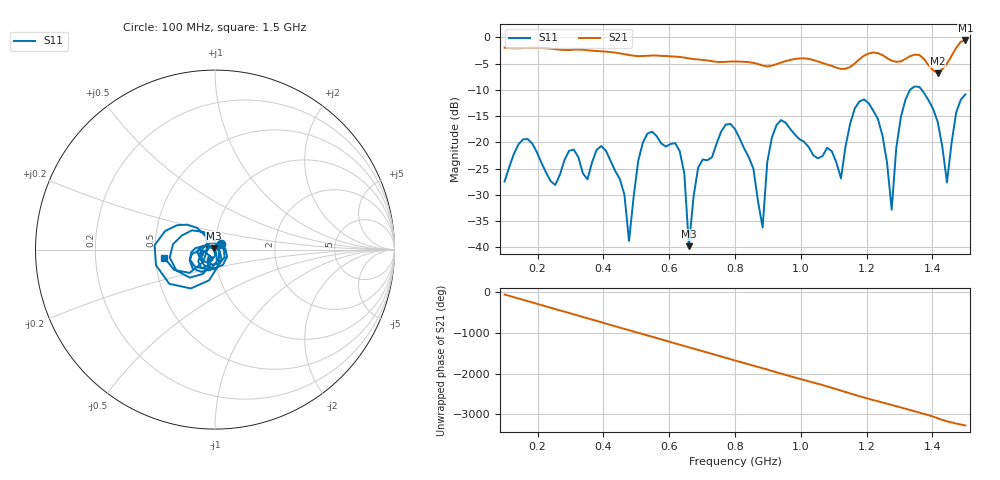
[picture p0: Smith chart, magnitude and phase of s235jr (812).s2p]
! NanoVNA-App
! Date: 2025-09-25 15:10:29
! Start: 100MHz Stop: 1,5GHz Points: 101
! S-Parameter data: F S11 S21 S12 S22
# Hz S RI R 50
!  Frequency  S11_Real  S11_Imag  S21_Real  S21_Imag  S12_Real  S12_Imag  S22_Real  S22_Imag
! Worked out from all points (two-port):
!   101 points, 100 MHz to 1.5 GHz, reference 50 ohm
!   highest |S21| = -0.59 dB at 1.5 GHz (marker M1); lowest = -6.8 dB at 1.416 GHz (marker M2)
!   |S21| within 3 dB of the highest: start of sweep to 599.9 MHz; 1.19 GHz to 1.253 GHz (63.33 MHz wide, 5.18 % of centre) (the widest 2 of 4)
!   lowest |S11| = -39.8 dB at 660 MHz (marker M3), VSWR 1.02, Z = 49.2 + j0.625 ohm
!   |S11| at or under -10 dB: start of sweep to 1.332 GHz; 1.367 GHz to end of sweep
!   S12 and S22 are empty: the file has one direction only
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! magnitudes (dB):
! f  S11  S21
! 100 MHz  -27.5  -2.0
! 156 MHz  -19.5  -2.0
! 338 MHz  -26.0  -2.4
! 408 MHz  -21.6  -2.7
! 478 MHz  -38.8  -3.4
! 520 MHz  -20.1  -3.6
! 576 MHz  -20.2  -3.5
! 632 MHz  -21.7  -3.7
! 660 MHz  -39.8  -4.0
! 688 MHz  -24.9  -4.2
! 800 MHz  -17.5  -4.6
! 884 MHz  -36.2  -5.4
! 926 MHz  -16.7  -5.1
! 1.038 GHz  -22.5  -4.3
! 1.122 GHz  -26.9  -6.0
! 1.192 GHz  -11.8  -3.5
! 1.248 GHz  -18.7  -3.4
! 1.276 GHz  -32.8  -4.5
! 1.332 GHz  -10.0  -3.6
! 1.416 GHz  -16.1  -6.8
! 1.444 GHz  -27.7  -5.0
! 1.5 GHz  -10.9  -0.6
